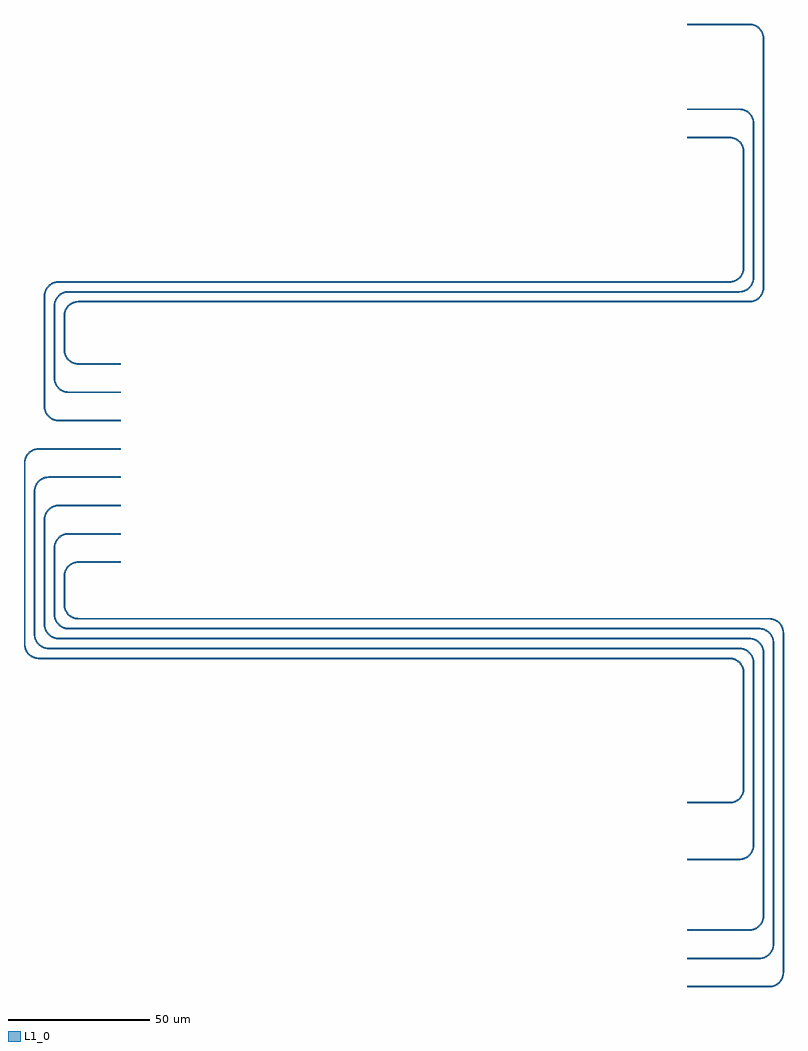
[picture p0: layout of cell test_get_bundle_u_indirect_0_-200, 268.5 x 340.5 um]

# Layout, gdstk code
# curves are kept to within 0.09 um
from math import pi, radians
import gdstk
lib = gdstk.Library(unit=1e-6, precision=1e-09)
def R(c, l, rs):  # rectangles x0, y0, x1, y1
    for r in rs: c.add(gdstk.rectangle(r[:2], r[2:], *l))
def P(c, l, *ps):  # polygons
    for p in ps: c.add(gdstk.Polygon(p, *l))
L1_0 = (1, 0)

bend_circular_b549158f = lib.new_cell('bend_circular_b549158f')
P(bend_circular_b549158f, L1_0, [(0,-0.25),(1.092,-0.135),(2.135,0.204),(3.086,0.753),(3.712,1.288),(4.247,1.914),(4.796,2.865),(5.135,3.908),(5.25,5),(4.75,5),(4.646,4.012),(4.339,3.068),(3.984,2.413),(3.359,1.641),(2.587,1.016),(1.932,0.661),(0.988,0.354),(0,0.25)])

straight_300acbf5 = lib.new_cell('straight_300acbf5')
R(straight_300acbf5, L1_0, [(0,-0.25,15,0.25)])

straight_39611998 = lib.new_cell('straight_39611998')
R(straight_39611998, L1_0, [(0,-0.25,41,0.25)])

straight_0b828483 = lib.new_cell('straight_0b828483')
R(straight_0b828483, L1_0, [(0,-0.25,244,0.25)])

straight_4925508e = lib.new_cell('straight_4925508e')
R(straight_4925508e, L1_0, [(0,-0.25,64,0.25)])

straight_f4586a41 = lib.new_cell('straight_f4586a41')
R(straight_f4586a41, L1_0, [(0,-0.25,29,0.25)])

straight_48f0a077 = lib.new_cell('straight_48f0a077')
R(straight_48f0a077, L1_0, [(0,-0.25,18.5,0.25)])

straight_7eaff7ba = lib.new_cell('straight_7eaff7ba')
R(straight_7eaff7ba, L1_0, [(0,-0.25,64.5,0.25)])

straight_76afc772 = lib.new_cell('straight_76afc772')
R(straight_76afc772, L1_0, [(0,-0.25,50.5,0.25)])

straight_ff723e3d = lib.new_cell('straight_ff723e3d')
R(straight_ff723e3d, L1_0, [(0,-0.25,25.5,0.25)])

straight_b198cf17 = lib.new_cell('straight_b198cf17')
R(straight_b198cf17, L1_0, [(0,-0.25,22,0.25)])

straight_7432c4d2 = lib.new_cell('straight_7432c4d2')
R(straight_7432c4d2, L1_0, [(0,-0.25,93,0.25)])

straight_2f29f0fb = lib.new_cell('straight_2f29f0fb')
R(straight_2f29f0fb, L1_0, [(0,-0.25,37,0.25)])

straight_e72a07eb = lib.new_cell('straight_e72a07eb')
R(straight_e72a07eb, L1_0, [(0,-0.25,106.5,0.25)])

straight_0603132e = lib.new_cell('straight_0603132e')
R(straight_0603132e, L1_0, [(0,-0.25,23.5,0.25)])

straight_ffdf9283 = lib.new_cell('straight_ffdf9283')
R(straight_ffdf9283, L1_0, [(0,-0.25,120,0.25)])

straight_b549158f = lib.new_cell('straight_b549158f')
R(straight_b549158f, L1_0, [(0,-0.25,10,0.25)])

straight_9a12299d = lib.new_cell('straight_9a12299d')
R(straight_9a12299d, L1_0, [(0,-0.25,237,0.25)])

straight_d0f5a18f = lib.new_cell('straight_d0f5a18f')
R(straight_d0f5a18f, L1_0, [(0,-0.25,39,0.25)])

straight_3d4f515e = lib.new_cell('straight_3d4f515e')
R(straight_3d4f515e, L1_0, [(0,-0.25,54.5,0.25)])

straight_4a595533 = lib.new_cell('straight_4a595533')
R(straight_4a595533, L1_0, [(0,-0.25,88,0.25)])

straight_5784f406 = lib.new_cell('straight_5784f406')
R(straight_5784f406, L1_0, [(0,-0.25,12,0.25)])

test_get_bundle_u_indire = lib.new_cell('test_get_bundle_u_indirect_0_-200')
test_get_bundle_u_indire.add(gdstk.Reference(bend_circular_b549158f, (15,-35)))
test_get_bundle_u_indire.add(gdstk.Reference(bend_circular_b549158f, (20,11), rotation=pi/2))
test_get_bundle_u_indire.add(gdstk.Reference(bend_circular_b549158f, (-229,16), rotation=pi, x_reflection=True))
test_get_bundle_u_indire.add(gdstk.Reference(bend_circular_b549158f, (-234,85), rotation=pi/2, x_reflection=True))
test_get_bundle_u_indire.add(gdstk.Reference(straight_300acbf5, (0,-35)))
test_get_bundle_u_indire.add(gdstk.Reference(straight_39611998, (20,-30), rotation=pi/2))
test_get_bundle_u_indire.add(gdstk.Reference(straight_0b828483, (15,16), rotation=pi))
test_get_bundle_u_indire.add(gdstk.Reference(straight_4925508e, (-234,21), rotation=pi/2))
test_get_bundle_u_indire.add(gdstk.Reference(straight_f4586a41, (-229,90)))
test_get_bundle_u_indire.add(gdstk.Reference(bend_circular_b549158f, (18.5,-55)))
test_get_bundle_u_indire.add(gdstk.Reference(bend_circular_b549158f, (23.5,14.5), rotation=pi/2))
test_get_bundle_u_indire.add(gdstk.Reference(bend_circular_b549158f, (-225.5,19.5), rotation=pi, x_reflection=True))
test_get_bundle_u_indire.add(gdstk.Reference(bend_circular_b549158f, (-230.5,75), rotation=pi/2, x_reflection=True))
test_get_bundle_u_indire.add(gdstk.Reference(straight_48f0a077, (0,-55)))
test_get_bundle_u_indire.add(gdstk.Reference(straight_7eaff7ba, (23.5,-50), rotation=pi/2))
test_get_bundle_u_indire.add(gdstk.Reference(straight_0b828483, (18.5,19.5), rotation=pi))
test_get_bundle_u_indire.add(gdstk.Reference(straight_76afc772, (-230.5,24.5), rotation=pi/2))
test_get_bundle_u_indire.add(gdstk.Reference(straight_ff723e3d, (-225.5,80)))
test_get_bundle_u_indire.add(gdstk.Reference(bend_circular_b549158f, (22,-80)))
test_get_bundle_u_indire.add(gdstk.Reference(bend_circular_b549158f, (27,18), rotation=pi/2))
test_get_bundle_u_indire.add(gdstk.Reference(bend_circular_b549158f, (-222,23), rotation=pi, x_reflection=True))
test_get_bundle_u_indire.add(gdstk.Reference(bend_circular_b549158f, (-227,65), rotation=pi/2, x_reflection=True))
test_get_bundle_u_indire.add(gdstk.Reference(straight_b198cf17, (0,-80)))
test_get_bundle_u_indire.add(gdstk.Reference(straight_7432c4d2, (27,-75), rotation=pi/2))
test_get_bundle_u_indire.add(gdstk.Reference(straight_0b828483, (22,23), rotation=pi))
test_get_bundle_u_indire.add(gdstk.Reference(straight_2f29f0fb, (-227,28), rotation=pi/2))
test_get_bundle_u_indire.add(gdstk.Reference(straight_b198cf17, (-222,70)))
test_get_bundle_u_indire.add(gdstk.Reference(bend_circular_b549158f, (25.5,-90)))
test_get_bundle_u_indire.add(gdstk.Reference(bend_circular_b549158f, (30.5,21.5), rotation=pi/2))
test_get_bundle_u_indire.add(gdstk.Reference(bend_circular_b549158f, (-218.5,26.5), rotation=pi, x_reflection=True))
test_get_bundle_u_indire.add(gdstk.Reference(bend_circular_b549158f, (-223.5,55), rotation=pi/2, x_reflection=True))
test_get_bundle_u_indire.add(gdstk.Reference(straight_ff723e3d, (0,-90)))
test_get_bundle_u_indire.add(gdstk.Reference(straight_e72a07eb, (30.5,-85), rotation=pi/2))
test_get_bundle_u_indire.add(gdstk.Reference(straight_0b828483, (25.5,26.5), rotation=pi))
test_get_bundle_u_indire.add(gdstk.Reference(straight_0603132e, (-223.5,31.5), rotation=pi/2))
test_get_bundle_u_indire.add(gdstk.Reference(straight_48f0a077, (-218.5,60)))
test_get_bundle_u_indire.add(gdstk.Reference(bend_circular_b549158f, (29,-100)))
test_get_bundle_u_indire.add(gdstk.Reference(bend_circular_b549158f, (34,25), rotation=pi/2))
test_get_bundle_u_indire.add(gdstk.Reference(bend_circular_b549158f, (-215,30), rotation=pi, x_reflection=True))
test_get_bundle_u_indire.add(gdstk.Reference(bend_circular_b549158f, (-220,45), rotation=pi/2, x_reflection=True))
test_get_bundle_u_indire.add(gdstk.Reference(straight_f4586a41, (0,-100)))
test_get_bundle_u_indire.add(gdstk.Reference(straight_ffdf9283, (34,-95), rotation=pi/2))
test_get_bundle_u_indire.add(gdstk.Reference(straight_0b828483, (29,30), rotation=pi))
test_get_bundle_u_indire.add(gdstk.Reference(straight_b549158f, (-220,35), rotation=pi/2))
test_get_bundle_u_indire.add(gdstk.Reference(straight_300acbf5, (-215,50)))
test_get_bundle_u_indire.add(gdstk.Reference(bend_circular_b549158f, (15,200), x_reflection=True))
test_get_bundle_u_indire.add(gdstk.Reference(bend_circular_b549158f, (20,154), rotation=3*pi/2, x_reflection=True))
test_get_bundle_u_indire.add(gdstk.Reference(bend_circular_b549158f, (-222,149), rotation=pi))
test_get_bundle_u_indire.add(gdstk.Reference(bend_circular_b549158f, (-227,105), rotation=3*pi/2))
test_get_bundle_u_indire.add(gdstk.Reference(straight_300acbf5, (0,200)))
test_get_bundle_u_indire.add(gdstk.Reference(straight_39611998, (20,195), rotation=3*pi/2))
test_get_bundle_u_indire.add(gdstk.Reference(straight_9a12299d, (15,149), rotation=pi))
test_get_bundle_u_indire.add(gdstk.Reference(straight_d0f5a18f, (-227,144), rotation=3*pi/2))
test_get_bundle_u_indire.add(gdstk.Reference(straight_b198cf17, (-222,100)))
test_get_bundle_u_indire.add(gdstk.Reference(bend_circular_b549158f, (18.5,210), x_reflection=True))
test_get_bundle_u_indire.add(gdstk.Reference(bend_circular_b549158f, (23.5,150.5), rotation=3*pi/2, x_reflection=True))
test_get_bundle_u_indire.add(gdstk.Reference(bend_circular_b549158f, (-218.5,145.5), rotation=pi))
test_get_bundle_u_indire.add(gdstk.Reference(bend_circular_b549158f, (-223.5,115), rotation=3*pi/2))
test_get_bundle_u_indire.add(gdstk.Reference(straight_48f0a077, (0,210)))
test_get_bundle_u_indire.add(gdstk.Reference(straight_3d4f515e, (23.5,205), rotation=3*pi/2))
test_get_bundle_u_indire.add(gdstk.Reference(straight_9a12299d, (18.5,145.5), rotation=pi))
test_get_bundle_u_indire.add(gdstk.Reference(straight_ff723e3d, (-223.5,140.5), rotation=3*pi/2))
test_get_bundle_u_indire.add(gdstk.Reference(straight_48f0a077, (-218.5,110)))
test_get_bundle_u_indire.add(gdstk.Reference(bend_circular_b549158f, (22,240), x_reflection=True))
test_get_bundle_u_indire.add(gdstk.Reference(bend_circular_b549158f, (27,147), rotation=3*pi/2, x_reflection=True))
test_get_bundle_u_indire.add(gdstk.Reference(bend_circular_b549158f, (-215,142), rotation=pi))
test_get_bundle_u_indire.add(gdstk.Reference(bend_circular_b549158f, (-220,125), rotation=3*pi/2))
test_get_bundle_u_indire.add(gdstk.Reference(straight_b198cf17, (0,240)))
test_get_bundle_u_indire.add(gdstk.Reference(straight_4a595533, (27,235), rotation=3*pi/2))
test_get_bundle_u_indire.add(gdstk.Reference(straight_9a12299d, (22,142), rotation=pi))
test_get_bundle_u_indire.add(gdstk.Reference(straight_5784f406, (-220,137), rotation=3*pi/2))
test_get_bundle_u_indire.add(gdstk.Reference(straight_300acbf5, (-215,120)))

lib.write_gds('test_get_bundle_u_indirect_0_-200.gds')
